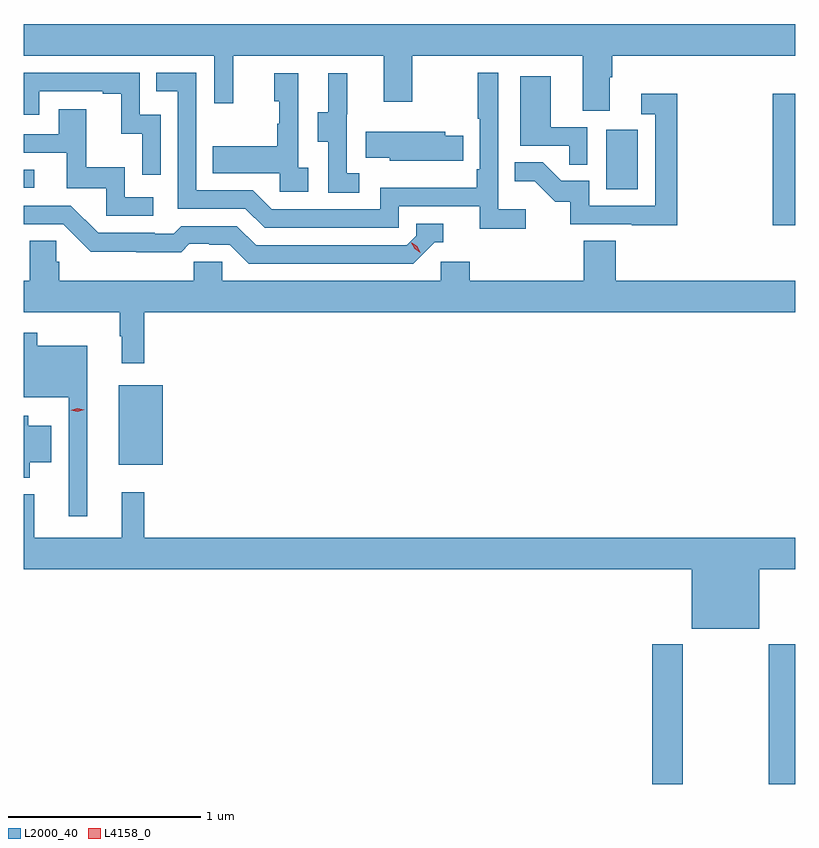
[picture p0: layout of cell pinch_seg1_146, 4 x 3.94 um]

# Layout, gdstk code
import gdstk
lib = gdstk.Library(unit=1e-6, precision=1e-09)
def R(c, l, rs):  # rectangles x0, y0, x1, y1
    for r in rs: c.add(gdstk.rectangle(r[:2], r[2:], *l))
def P(c, l, *ps):  # polygons
    for p in ps: c.add(gdstk.Polygon(p, *l))
L2000_40 = (2000, 40)
L4158_0 = (4158, 0)

pinch_seg1_146 = lib.new_cell('pinch_seg1_146')
R(pinch_seg1_146, L2000_40, [(1107.989,543.958,1108.149,544.684), (1108.594,543.958,1108.731,544.684), (1105.223,545.615,1105.45,546.025), (1108.615,546.856,1108.731,547.537), (1107.752,547.044,1107.916,547.351), (1104.731,547.05,1104.784,547.143)])
P(pinch_seg1_146, L2000_40, [(1107.769,547.624),(1107.782,547.624),(1107.782,547.736),(1108.731,547.736),(1108.731,547.9),(1104.731,547.9),(1104.731,547.736),(1105.719,547.736),(1105.719,547.488),(1105.817,547.488),(1105.817,547.736),(1106.597,547.736),(1106.597,547.497),(1106.745,547.497),(1106.745,547.736),(1107.629,547.736),(1107.629,547.45),(1107.769,547.45)],
  [(1107.334,546.94),(1107.192,546.94),(1107.192,547.648),(1107.084,547.648),(1107.084,547.408),(1107.096,547.408),(1107.096,547.147),(1107.079,547.147),(1107.079,547.051),(1106.58,547.051),(1106.58,546.939),(1106.016,546.939),(1105.917,547.038),(1105.626,547.038),(1105.626,547.647),(1105.417,547.647),(1105.417,547.551),(1105.53,547.551),(1105.53,546.942),(1105.88,546.942),(1105.979,546.843),(1106.676,546.843),(1106.676,546.954),(1107.095,546.954),(1107.095,546.838),(1107.334,546.838)],
  [(1105.44,547.428),(1105.332,547.428),(1105.332,547.647),(1104.731,547.647),(1104.731,547.428),(1104.81,547.428),(1104.81,547.551),(1105.139,547.551),(1105.139,547.539),(1105.235,547.539),(1105.235,547.331),(1105.344,547.331),(1105.344,547.119),(1105.44,547.119)],
  [(1106.47,547.127),(1106.406,547.127),(1106.406,547.431),(1106.408,547.431),(1106.408,547.645),(1106.309,547.645),(1106.309,547.443),(1106.255,547.443),(1106.255,547.288),(1106.31,547.288),(1106.31,547.024),(1106.47,547.024)],
  [(1106.206,547.154),(1106.154,547.154),(1106.154,547.645),(1106.03,547.645),(1106.03,547.5),(1106.056,547.5),(1106.056,547.382),(1106.046,547.382),(1106.046,547.267),(1105.711,547.267),(1105.711,547.127),(1106.058,547.127),(1106.058,547.029),(1106.206,547.029)],
  [(1107.654,547.365),(1107.463,547.365),(1107.463,547.63),(1107.305,547.63),(1107.305,547.269),(1107.559,547.269),(1107.559,547.171),(1107.654,547.171)],
  [(1108.121,547.537),(1107.933,547.537),(1107.933,547.431),(1108.005,547.431),(1108.005,546.957),(1107.663,546.957),(1107.663,547.086),(1107.519,547.086),(1107.421,547.184),(1107.277,547.184),(1107.277,547.085),(1107.381,547.085),(1107.488,546.978),(1107.565,546.978),(1107.565,546.861),(1107.883,546.861),(1107.883,546.856),(1108.121,546.856)],
  [(1105.402,547.002),(1105.254,547.002),(1105.254,547.156),(1105.055,547.156),(1105.055,547.459),(1104.911,547.459),(1104.911,547.329),(1104.731,547.329),(1104.731,547.233),(1104.953,547.233),(1104.953,547.047),(1105.158,547.047),(1105.158,546.906),(1105.402,546.906)],
  [(1106.9,547.191),(1107.011,547.191),(1107.011,547.32),(1106.917,547.32),(1106.917,547.342),(1106.503,547.342),(1106.503,547.205),(1106.628,547.205),(1106.628,547.19),(1106.9,547.19)],
  [(1106.862,546.768),(1106.905,546.768),(1106.905,546.864),(1106.766,546.864),(1106.766,546.801),(1106.718,546.753),(1105.935,546.753),(1105.836,546.852),(1105.547,546.852),(1105.508,546.813),(1105.409,546.813),(1105.409,546.816),(1105.116,546.816),(1104.975,546.957),(1104.731,546.957),(1104.731,546.861),(1104.936,546.861),(1105.078,546.719),(1105.314,546.719),(1105.314,546.717),(1105.547,546.717),(1105.589,546.759),(1105.692,546.759),(1105.692,546.756),(1105.799,546.756),(1105.898,546.657),(1106.751,546.657)],
  [(1105.355,546.404),(1108.731,546.404),(1108.731,546.568),(1107.8,546.568),(1107.8,546.776),(1107.635,546.776),(1107.635,546.568),(1107.044,546.568),(1107.044,546.666),(1106.892,546.666),(1106.892,546.568),(1105.761,546.568),(1105.761,546.666),(1105.611,546.666),(1105.611,546.568),(1104.914,546.568),(1104.914,546.666),(1104.899,546.666),(1104.899,546.776),(1104.762,546.776),(1104.762,546.568),(1104.731,546.568),(1104.731,546.404),(1105.227,546.404),(1105.227,546.281),(1105.238,546.281),(1105.238,546.141),(1105.355,546.141)],
  [(1105.06,546.232),(1104.799,546.232),(1104.799,546.298),(1104.731,546.298),(1104.731,545.963),(1104.963,545.963),(1104.963,545.346),(1105.06,545.346)],
  [(1104.76,545.627),(1104.874,545.627),(1104.874,545.815),(1104.754,545.815),(1104.754,545.869),(1104.731,545.869),(1104.731,545.546),(1104.76,545.546)],
  [(1108.546,545.072),(1108.731,545.072),(1108.731,545.236),(1105.355,545.236),(1105.355,545.47),(1105.238,545.47),(1105.238,545.236),(1104.785,545.236),(1104.785,545.461),(1104.731,545.461),(1104.731,545.072),(1108.196,545.072),(1108.196,544.763),(1108.546,544.763)])
P(pinch_seg1_146, L4158_0, [(1106.788,546.714),(1106.757,546.734),(1106.741,546.766),(1106.741,546.766),(1106.742,546.766),(1106.772,546.747),(1106.788,546.714),(1106.788,546.714)],
  [(1105.009,545.888),(1104.973,545.897),(1104.973,545.897),(1104.973,545.897),(1105.008,545.908),(1105.044,545.9),(1105.045,545.899),(1105.044,545.899)])

lib.write_gds('pinch_seg1_146.gds')
